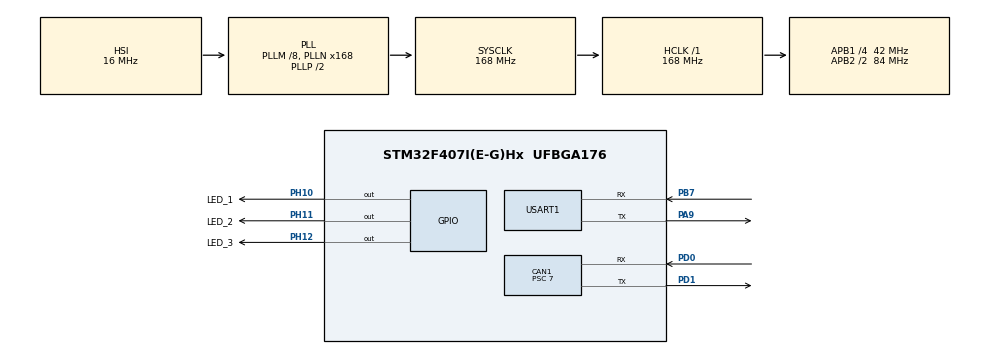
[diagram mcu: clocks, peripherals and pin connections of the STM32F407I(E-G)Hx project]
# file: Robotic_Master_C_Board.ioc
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CAN1.ABOM=ENABLE
CAN1.BS1=CAN_BS1_2TQ
CAN1.BS2=CAN_BS2_3TQ
CAN1.CalculateBaudRate=999999
CAN1.CalculateTimeBit=1000
CAN1.CalculateTimeQuantum=166.66666666666669
CAN1.Prescaler=7
Dma.Request0=USART1_TX
Dma.USART1_TX.0.Direction=DMA_MEMORY_TO_PERIPH
Dma.USART1_TX.0.FIFOMode=DMA_FIFOMODE_DISABLE
Dma.USART1_TX.0.Instance=DMA2_Stream7
Dma.USART1_TX.0.MemDataAlignment=DMA_MDATAALIGN_BYTE
Dma.USART1_TX.0.MemInc=DMA_MINC_ENABLE
Dma.USART1_TX.0.Mode=DMA_NORMAL
Dma.USART1_TX.0.PeriphDataAlignment=DMA_PDATAALIGN_BYTE
Dma.USART1_TX.0.PeriphInc=DMA_PINC_DISABLE
Dma.USART1_TX.0.Priority=DMA_PRIORITY_VERY_HIGH
Mcu.Family=STM32F4
Mcu.Name=STM32F407I(E-G)Hx
Mcu.Package=UFBGA176
NVIC.CAN1_RX0_IRQn=true\:0\:0\:true\:false\:true\:true\:true\:true
NVIC.CAN1_RX1_IRQn=true\:0\:0\:true\:false\:true\:true\:true\:true
NVIC.DMA2_Stream7_IRQn=true\:0\:0\:false\:false\:true\:false\:true\:true
NVIC.PriorityGroup=NVIC_PRIORITYGROUP_2
NVIC.USART1_IRQn=true\:2\:3\:true\:false\:true\:true\:true\:true
PA13.Mode=Serial_Wire
PA13.Signal=SYS_JTMS-SWDIO
PA14.Mode=Serial_Wire
PA14.Signal=SYS_JTCK-SWCLK
PA9.Mode=Asynchronous
PA9.Signal=USART1_TX
PB7.Mode=Asynchronous
PB7.Signal=USART1_RX
PD0.Mode=CAN_Activate
PD0.Signal=CAN1_RX
PD1.Mode=CAN_Activate
PD1.Signal=CAN1_TX
PH0-OSC_IN.Mode=HSE-External-Oscillator
PH0-OSC_IN.Signal=RCC_OSC_IN
PH1-OSC_OUT.Mode=HSE-External-Oscillator
PH1-OSC_OUT.Signal=RCC_OSC_OUT
PH10.GPIO_Label=LED_1
PH10.Signal=GPIO_Output
PH11.GPIO_Label=LED_2
PH11.Signal=GPIO_Output
PH12.GPIO_Label=LED_3
PH12.Signal=GPIO_Output
ProjectManager.HeapSize=0x200
ProjectManager.StackSize=0x400
ProjectManager.TargetToolchain=CMake
RCC.48MHZClocksFreq_Value=84000000
RCC.AHBFreq_Value=168000000
RCC.APB1CLKDivider=RCC_HCLK_DIV4
RCC.APB1Freq_Value=42000000
RCC.APB1TimFreq_Value=84000000
RCC.APB2CLKDivider=RCC_HCLK_DIV2
RCC.APB2Freq_Value=84000000
RCC.APB2TimFreq_Value=168000000
RCC.CortexFreq_Value=168000000
RCC.HCLKFreq_Value=168000000
RCC.HSE_VALUE=12000000
RCC.HSI_VALUE=16000000
RCC.LSE_VALUE=32768
RCC.PLLM=8
RCC.PLLN=168
RCC.SYSCLKFreq_VALUE=168000000
RCC.SYSCLKSource=RCC_SYSCLKSOURCE_PLLCLK
RCC.VCOOutputFreq_Value=336000000
TIM1.Period=4999
TIM1.Prescaler=16799
TIM5.Period=65535
USART1.VirtualMode=VM_ASYNC
VP_TIM1_VS_ClockSourceINT.Mode=Internal
VP_TIM5_VS_ClockSourceINT.Mode=Internal
board=custom

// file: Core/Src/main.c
/* USER CODE BEGIN Header */
/**
  ******************************************************************************
  * @file           : main.c
  * @brief          : Main program body
  ******************************************************************************
  * @attention
  *
  * Copyright (c) 2026 STMicroelectronics.
  * All rights reserved.
  *
  * This software is licensed under terms that can be found in the LICENSE file
  * in the root directory of this software component.
  * If no LICENSE file comes with this software, it is provided AS-IS.
  *
  ******************************************************************************
  */
/* USER CODE END Header */
#include "main.h"
#include "can.h"
#include "dma.h"
#include "tim.h"
#include "usart.h"
#include "gpio.h"

/* USER CODE BEGIN Includes */
#include "bsp_can.h"
#include "uart_basics.h"
/* USER CODE END Includes */

/* USER CODE BEGIN PTD */

static uint16_t print_cnt = 0;
int final_num = 0;
/* USER CODE END PTD */

void SystemClock_Config(void);

int main(void)
{

  /* MCU Configuration--------------------------------------------------------*/

  /* Reset of all peripherals, Initializes the Flash interface and the Systick. */
  HAL_Init();

  /* Configure the system clock */
  SystemClock_Config();

  /* Initialize all configured peripherals */
  MX_GPIO_Init();
  MX_DMA_Init();
  MX_TIM1_Init();
  MX_TIM5_Init();
  MX_CAN1_Init();
  MX_USART1_UART_Init();
  /* USER CODE BEGIN 2 */
  HAL_UART_Receive_IT(&huart1, &uart1_rx_buf[0], 1);
  can_filter_init();

//  uart_printf("456\n");
//  uint8_t Data[]="123";
//  HAL_UART_Transmit(&huart1,Data,sizeof(Data)-1,100);
//  uart_printf("456");
//	HAL_TIM_Base_Start(&htim1);
//  HAL_TIM_Base_Start_IT(&htim1);
//	HAL_GPIO_WritePin(GPIOH,LED_1_Pin,GPIO_PIN_SET);
//	HAL_GPIO_WritePin(GPIOH,LED_2_Pin,GPIO_PIN_RESET);
//	HAL_GPIO_WritePin(GPIOH,LED_3_Pin,GPIO_PIN_RESET);
//	HAL_TIM_Base_Start(&htim5);
//	HAL_TIM_PWM_Start(&htim5,TIM_CHANNEL_1 );
//	HAL_TIM_PWM_Start(&htim5,TIM_CHANNEL_2 );
//	HAL_TIM_PWM_Start(&htim5,TIM_CHANNEL_3 );
//	__HAL_TIM_SetCompare(&htim5,TIM_CHANNEL_1,30000);
//	uart_printf("1");
  /* USER CODE END 2 */

  /* Infinite loop */
  /* USER CODE BEGIN WHILE */
  while (1)
  {
    set_GM6020_motor_voltage(&hcan1, final_num);
	//uart_printf("1");
    if(motor_data_update_flag)
    {
        motor_data_update_flag = 0;

        uart_printf("%d, %d, %d, %d\r\n",
                    motor_yaw_info.rotor_angle,
                    motor_yaw_info.rotor_speed,
                    motor_yaw_info.torque_current,
                    motor_yaw_info.temp);
    }
    /* USER CODE END WHILE */

  }
}

void SystemClock_Config(void)
{
  RCC_OscInitTypeDef RCC_OscInitStruct = {0};
  RCC_ClkInitTypeDef RCC_ClkInitStruct = {0};

  /** Configure the main internal regulator output voltage
  */
  __HAL_RCC_PWR_CLK_ENABLE();
  __HAL_PWR_VOLTAGESCALING_CONFIG(PWR_REGULATOR_VOLTAGE_SCALE1);

  /** Initializes the RCC Oscillators according to the specified parameters
  * in the RCC_OscInitTypeDef structure.
  */
  RCC_OscInitStruct.OscillatorType = RCC_OSCILLATORTYPE_HSI;
  RCC_OscInitStruct.HSIState = RCC_HSI_ON;
  RCC_OscInitStruct.HSICalibrationValue = RCC_HSICALIBRATION_DEFAULT;
  RCC_OscInitStruct.PLL.PLLState = RCC_PLL_ON;
  RCC_OscInitStruct.PLL.PLLSource = RCC_PLLSOURCE_HSI;
  RCC_OscInitStruct.PLL.PLLM = 8;
  RCC_OscInitStruct.PLL.PLLN = 168;
  RCC_OscInitStruct.PLL.PLLP = RCC_PLLP_DIV2;
  RCC_OscInitStruct.PLL.PLLQ = 4;
  if (HAL_RCC_OscConfig(&RCC_OscInitStruct) != HAL_OK)
  {
    Error_Handler();
  }

  /** Initializes the CPU, AHB and APB buses clocks
  */
  RCC_ClkInitStruct.ClockType = RCC_CLOCKTYPE_HCLK|RCC_CLOCKTYPE_SYSCLK
                              |RCC_CLOCKTYPE_PCLK1|RCC_CLOCKTYPE_PCLK2;
  RCC_ClkInitStruct.SYSCLKSource = RCC_SYSCLKSOURCE_PLLCLK;
  RCC_ClkInitStruct.AHBCLKDivider = RCC_SYSCLK_DIV1;
  RCC_ClkInitStruct.APB1CLKDivider = RCC_HCLK_DIV4;
  RCC_ClkInitStruct.APB2CLKDivider = RCC_HCLK_DIV2;

  if (HAL_RCC_ClockConfig(&RCC_ClkInitStruct, FLASH_LATENCY_5) != HAL_OK)
  {
    Error_Handler();
  }
}

/* USER CODE BEGIN 4 */
//void HAL_TIM_PeriodElapsedCallback(TIM_HandleTypeDef *htim)
//{
//    if(htim == &htim1)
//    {
//	HAL_GPIO_TogglePin(GPIOH,LED_1_Pin);
//    }
//}

void HAL_UARTEx_RxEventCallback(UART_HandleTypeDef *huart, uint16_t Size){
    if(huart->Instance == USART1)
    {
		HAL_GPIO_TogglePin(GPIOH, GPIO_PIN_10);
		HAL_UARTEx_ReceiveToIdle_IT(&huart1, uart1_rx_buf, sizeof(uart1_rx_buf));
    }

}
/* USER CODE END 4 */

void Error_Handler(void)
{
  __disable_irq();
  while (1)
  {
  }
}
